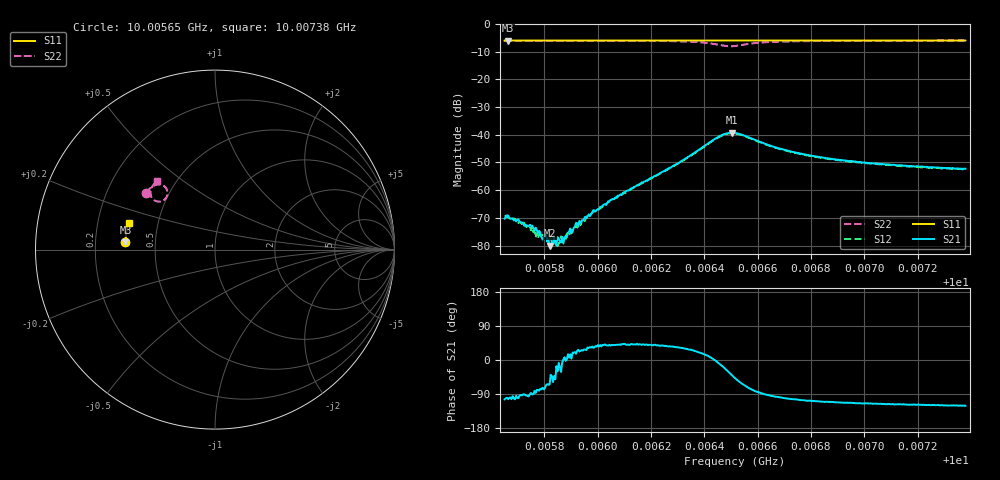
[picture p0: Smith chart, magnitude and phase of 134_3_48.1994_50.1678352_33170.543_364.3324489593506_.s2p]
#  HZ  S  RI  R  50.00
! Rohde & Schwarz Vector Network Analyzer
! Rohde-Schwarz,ZNB20-2Port,1311601062101988,3.16
! Created: UTC 3/20/2024, 11:42:02 AM
! freq[Hz]  re:S11  im:S11  re:S21  im:S21  re:S12  im:S12  re:S22  im:S22
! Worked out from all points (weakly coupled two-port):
!   401 points, 10.00565 GHz to 10.00738 GHz, reference 50 ohm
!   highest |S21| = -39.28 dB at 10.0065 GHz (marker M1); lowest = -80.1 dB at 10.00582 GHz (marker M2)
!   lowest |S11| = -6.0 dB at 10.00566 GHz (marker M3), VSWR 3.01, Z = 16.7 + j1.81 ohm
!   |S11| at or under -10 dB: nowhere
!   |S22| runs from -8.1 to -6.0 dB; largest |S21 - S12| = 0.00065
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1.0005651e10  -0.4995 0.0399  -7.28e-05 -0.000298  -4.32e-05 -0.00033  -0.3835 0.3163
1.0005664e10  -0.4992 0.0407  -8e-05 -0.00034  -3.81e-05 -0.000316  -0.3829 0.3172
1.0005716e10  -0.4991 0.0441  -1.54e-05 -0.000255  -2.15e-05 -0.000243  -0.3805 0.3204
1.000575e10  -0.4989 0.0465  1.11e-05 -0.000224  2.59e-05 -0.000185  -0.3788 0.3225
1.0005776e10  -0.4988 0.0482  2.99e-05 -0.000157  2.83e-05 -0.000131  -0.3773 0.3241
1.0005785e10  -0.4987 0.0486  4.08e-05 -0.000164  5.07e-05 -0.000127  -0.377 0.3247
1.0005806e10  -0.4986 0.0501  6.31e-05 -0.000145  6.9e-05 -0.000128  -0.3757 0.326
1.0005819e10  -0.4987 0.0508  4.2e-05 -8.95e-05  6.2e-05 -0.000116  -0.375 0.327
1.0005828e10  -0.4986 0.0514  8.06e-05 -7.41e-05  8.35e-05 -7.28e-05  -0.3745 0.3274
1.0005849e10  -0.4985 0.0529  0.000122 -7.03e-05  9.14e-05 -3.32e-05  -0.3734 0.3288
1.0005867e10  -0.4984 0.0541  0.000143 -1.74e-05  0.000133 -2.14e-05  -0.3726 0.33
1.000594e10  -0.4981 0.0588  0.000256 0.000125  0.000241 0.000117  -0.368 0.3347
1.0005966e10  -0.4978 0.0604  0.000308 0.000193  0.000279 0.000212  -0.3663 0.3365
1.0006048e10  -0.4975 0.0657  0.000517 0.000407  0.000493 0.000428  -0.3605 0.3423
1.000623e10  -0.4959 0.0775  0.00155 0.00122  0.00146 0.00126  -0.3413 0.3563
1.000645e10  -0.4932 0.0916  0.00901 -0.000973  0.00878 -0.000508  -0.2665 0.3292
1.0006502e10  -0.4926 0.0942  0.0084 -0.00689  0.00856 -0.00631  -0.2829 0.2769
1.0006515e10  -0.4926 0.095  0.00721 -0.00799  0.00745 -0.00742  -0.296 0.2698
1.0006675e10  -0.4916 0.1052  -0.000764 -0.00572  -0.000525 -0.00564  -0.3602 0.3166
1.0006805e10  -0.4902 0.1136  -0.0013 -0.00396  -0.00107 -0.00393  -0.355 0.3405
1.0007094e10  -0.4863 0.1319  -0.00129 -0.00259  -0.00114 -0.00259  -0.3384 0.3664
1.000738e10  -0.4817 0.1498  -0.00124 -0.0021  -0.0011 -0.00209  -0.323 0.3832
